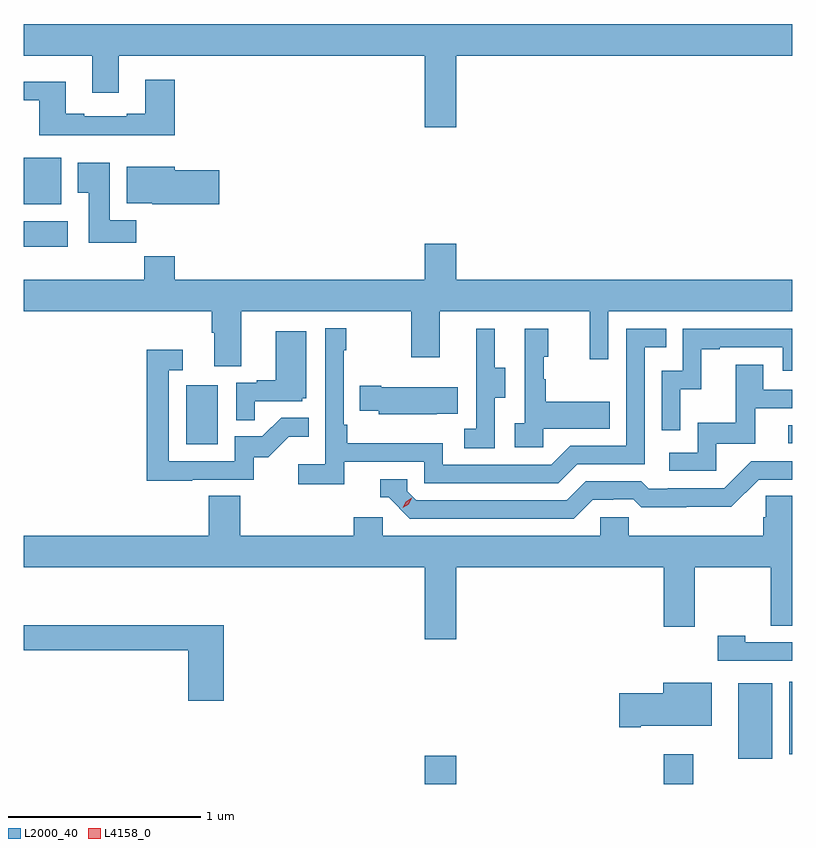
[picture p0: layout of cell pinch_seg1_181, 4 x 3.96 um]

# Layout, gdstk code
import gdstk
lib = gdstk.Library(unit=1e-6, precision=1e-09)
def R(c, l, rs):  # rectangles x0, y0, x1, y1
    for r in rs: c.add(gdstk.rectangle(r[:2], r[2:], *l))
def P(c, l, *ps):  # polygons
    for p in ps: c.add(gdstk.Polygon(p, *l))
L2000_40 = (2000, 40)
L4158_0 = (4158, 0)

pinch_seg1_181 = lib.new_cell('pinch_seg1_181')
R(pinch_seg1_181, L2000_40, [(1136.036,558.597,1136.2,558.745), (1137.281,558.597,1137.433,558.751), (1137.668,558.728,1137.844,559.12), (1137.932,558.753,1137.949,559.129), (1134.794,560.364,1134.958,560.671), (1137.927,560.37,1137.949,560.463), (1133.949,561.392,1134.178,561.526), (1133.949,561.614,1134.145,561.856)])
P(pinch_seg1_181, L2000_40, [(1136.2,562.388),(1137.949,562.388),(1137.949,562.552),(1133.949,562.552),(1133.949,562.388),(1134.305,562.388),(1134.305,562.194),(1134.445,562.194),(1134.445,562.388),(1136.036,562.388),(1136.036,562.014),(1136.2,562.014)],
  [(1134.734,562.261),(1134.581,562.261),(1134.581,562.084),(1134.485,562.084),(1134.485,562.071),(1134.265,562.071),(1134.265,562.084),(1134.169,562.084),(1134.169,562.252),(1133.949,562.252),(1133.949,562.155),(1134.029,562.155),(1134.029,561.974),(1134.734,561.974)],
  [(1134.536,561.532),(1134.397,561.532),(1134.397,561.829),(1134.23,561.829),(1134.23,561.673),(1134.287,561.673),(1134.287,561.414),(1134.536,561.414)],
  [(1134.967,561.791),(1134.736,561.791),(1134.736,561.808),(1134.485,561.808),(1134.485,561.62),(1134.618,561.62),(1134.618,561.614),(1134.967,561.614)],
  [(1135.081,561.056),(1135.966,561.056),(1135.966,560.817),(1136.113,560.817),(1136.113,561.056),(1136.894,561.056),(1136.894,560.808),(1136.991,560.808),(1136.991,561.056),(1137.949,561.056),(1137.949,561.22),(1136.2,561.22),(1136.2,561.409),(1136.036,561.409),(1136.036,561.22),(1134.734,561.22),(1134.734,561.344),(1134.577,561.344),(1134.577,561.22),(1133.949,561.22),(1133.949,561.056),(1134.929,561.056),(1134.929,560.944),(1134.941,560.944),(1134.941,560.77),(1135.081,560.77)],
  [(1135.616,560.274),(1136.034,560.274),(1136.034,560.163),(1136.731,560.163),(1136.83,560.262),(1137.18,560.262),(1137.18,560.871),(1137.293,560.871),(1137.293,560.967),(1137.084,560.967),(1137.084,560.358),(1136.793,560.358),(1136.694,560.259),(1136.13,560.259),(1136.13,560.371),(1135.634,560.371),(1135.634,560.467),(1135.614,560.467),(1135.614,560.855),(1135.627,560.855),(1135.627,560.968),(1135.518,560.968),(1135.518,560.26),(1135.377,560.26),(1135.377,560.158),(1135.616,560.158)],
  [(1137.366,560.651),(1137.476,560.651),(1137.476,560.859),(1137.571,560.859),(1137.571,560.871),(1137.9,560.871),(1137.9,560.748),(1137.949,560.748),(1137.949,560.967),(1137.378,560.967),(1137.378,560.748),(1137.27,560.748),(1137.27,560.439),(1137.366,560.439)],
  [(1136.4,560.608),(1136.455,560.608),(1136.455,560.763),(1136.401,560.763),(1136.401,560.965),(1136.303,560.965),(1136.303,560.751),(1136.304,560.751),(1136.304,560.447),(1136.241,560.447),(1136.241,560.344),(1136.4,560.344)],
  [(1136.652,560.447),(1136.999,560.447),(1136.999,560.587),(1136.665,560.587),(1136.665,560.702),(1136.655,560.702),(1136.655,560.82),(1136.68,560.82),(1136.68,560.965),(1136.556,560.965),(1136.556,560.474),(1136.505,560.474),(1136.505,560.349),(1136.652,560.349)],
  [(1135.151,560.589),(1135.398,560.589),(1135.398,560.604),(1135.42,560.604),(1135.42,560.953),(1135.262,560.953),(1135.262,560.698),(1135.163,560.698),(1135.163,560.685),(1135.056,560.685),(1135.056,560.491),(1135.151,560.491)],
  [(1134.827,560.181),(1135.146,560.181),(1135.146,560.298),(1135.222,560.298),(1135.329,560.405),(1135.433,560.405),(1135.433,560.504),(1135.289,560.504),(1135.191,560.406),(1135.047,560.406),(1135.047,560.277),(1134.705,560.277),(1134.705,560.751),(1134.778,560.751),(1134.778,560.857),(1134.589,560.857),(1134.589,560.176),(1134.827,560.176)],
  [(1137.552,560.367),(1137.757,560.367),(1137.757,560.553),(1137.949,560.553),(1137.949,560.649),(1137.799,560.649),(1137.799,560.779),(1137.655,560.779),(1137.655,560.476),(1137.456,560.476),(1137.456,560.322),(1137.309,560.322),(1137.309,560.226),(1137.552,560.226)],
  [(1136.099,560.525),(1136.207,560.525),(1136.207,560.662),(1135.81,560.662),(1135.81,560.67),(1135.699,560.67),(1135.699,560.54),(1135.797,560.54),(1135.797,560.522),(1136.099,560.522)],
  [(1136.911,560.076),(1137.018,560.076),(1137.018,560.079),(1137.121,560.079),(1137.163,560.037),(1137.396,560.037),(1137.396,560.039),(1137.632,560.039),(1137.774,560.181),(1137.949,560.181),(1137.949,560.277),(1137.735,560.277),(1137.594,560.136),(1137.301,560.136),(1137.301,560.133),(1137.202,560.133),(1137.163,560.172),(1136.874,560.172),(1136.775,560.073),(1135.992,560.073),(1135.944,560.121),(1135.944,560.184),(1135.805,560.184),(1135.805,560.088),(1135.848,560.088),(1135.959,559.977),(1136.812,559.977)],
  [(1136.2,559.724),(1137.281,559.724),(1137.281,559.416),(1137.441,559.416),(1137.441,559.724),(1137.838,559.724),(1137.838,559.42),(1137.949,559.42),(1137.949,559.888),(1137.948,559.888),(1137.948,560.096),(1137.811,560.096),(1137.811,559.986),(1137.797,559.986),(1137.797,559.888),(1137.099,559.888),(1137.099,559.986),(1136.949,559.986),(1136.949,559.888),(1135.818,559.888),(1135.818,559.986),(1135.667,559.986),(1135.667,559.888),(1135.076,559.888),(1135.076,560.096),(1134.911,560.096),(1134.911,559.888),(1133.949,559.888),(1133.949,559.724),(1136.036,559.724),(1136.036,559.35),(1136.2,559.35)],
  [(1134.989,559.423),(1133.949,559.423),(1133.949,559.294),(1134.806,559.294),(1134.806,559.029),(1134.989,559.029)],
  [(1137.949,559.335),(1137.705,559.335),(1137.705,559.368),(1137.561,559.368),(1137.561,559.239),(1137.949,559.239)],
  [(1137.16,558.899),(1137.529,558.899),(1137.529,559.123),(1137.278,559.123),(1137.278,559.07),(1137.048,559.07),(1137.048,558.892),(1137.16,558.892)])
P(pinch_seg1_181, L4158_0, [(1135.922,560.034),(1135.922,560.035),(1135.938,560.067),(1135.968,560.086),(1135.969,560.086),(1135.969,560.086),(1135.953,560.053),(1135.922,560.034)])

lib.write_gds('pinch_seg1_181.gds')
